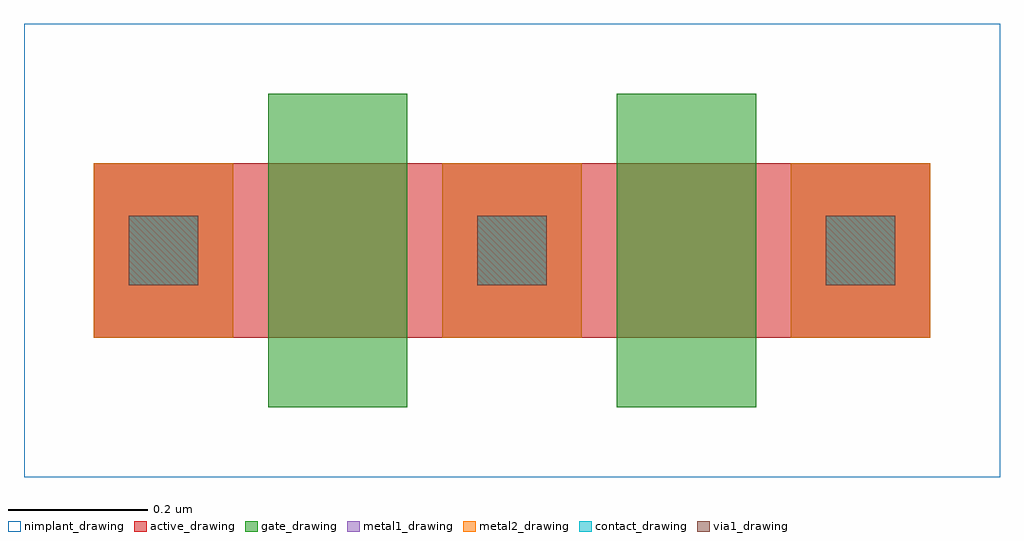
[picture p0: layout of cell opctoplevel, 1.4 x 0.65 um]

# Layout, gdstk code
import gdstk
lib = gdstk.Library(unit=1e-6, precision=1e-09)
def R(c, l, rs):  # rectangles x0, y0, x1, y1
    for r in rs: c.add(gdstk.rectangle(r[:2], r[2:], *l))
def A(c, l, x, y, w, h, nx, ny, dx, dy):  # array of equal rectangles
    R(c, l, [(x+i*dx, y+j*dy, x+i*dx+w, y+j*dy+h) for i in range(nx) for j in range(ny)])
active_drawing = (1, 0)
nimplant_drawing = (5, 0)
gate_drawing = (6, 0)
contact_drawing = (7, 0)
metal1_drawing = (8, 0)
via1_drawing = (9, 0)
metal2_drawing = (10, 0)

opctoplevel = lib.new_cell('opctoplevel')
R(opctoplevel, active_drawing, [(-0.25,0,0.95,0.25)])
R(opctoplevel, nimplant_drawing, [(-0.35,-0.2,1.05,0.45)])
R(opctoplevel, gate_drawing, [(0,-0.1,0.2,0.35), (0.5,-0.1,0.7,0.35)])
A(opctoplevel, contact_drawing, -0.2, 0.075, 0.1, 0.1, 3, 1, 0.5, 0)
A(opctoplevel, metal1_drawing, -0.25, 0, 0.2, 0.25, 3, 1, 0.5, 0)
A(opctoplevel, via1_drawing, -0.2, 0.075, 0.1, 0.1, 3, 1, 0.5, 0)
A(opctoplevel, metal2_drawing, -0.25, 0, 0.2, 0.25, 3, 1, 0.5, 0)

lib.write_gds('opctoplevel.gds')
